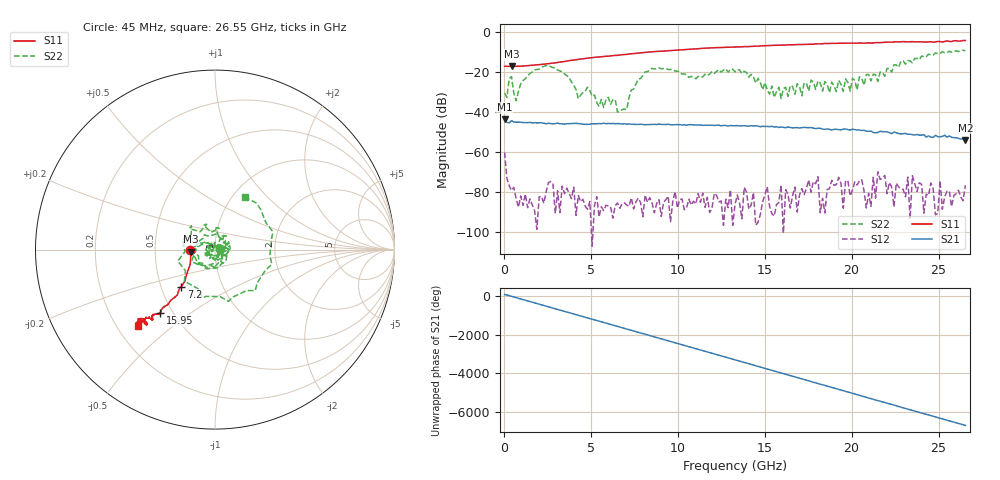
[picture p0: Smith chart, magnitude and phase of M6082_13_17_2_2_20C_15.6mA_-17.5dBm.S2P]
!  2-Port S-parameters saved by WinCal
! VAR MeasName=S-Parameters (CALIBRATED_DATA) read from VNA (C)
! VAR MeasDate=10/16/2015 2:01:17 PM
! VAR NAME=M6082_13_17_2_2_20C_15.6mA_-17.5dBm
! VAR FILENAME=M6082_13_17_2_2_20C_15.6mA_-17.5dBm.S2P
! VAR DATE=10/16/2015 2:01:17 PM
! VAR PHYS_PORTS=2,1
! VAR ObjTypeName=DATASET
! VAR IndexType=Frequency
# Hz S RI R 50
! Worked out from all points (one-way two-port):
!   201 points, 45 MHz to 26.55 GHz, reference 50 ohm
!   highest |S21| = -43.82 dB at 45 MHz (marker M1); lowest = -54.1 dB at 26.55 GHz (marker M2)
!   lowest |S11| = -17.3 dB at 442.5 MHz (marker M3), VSWR 1.32, Z = 38 - j0.903 ohm
!   |S11| at or under -10 dB: start of sweep to 8.538 GHz
!   |S22| runs from -40.2 to -9.2 dB; largest |S21 - S12| = 0.0072
!   S11 on the Smith chart (normalised r, x): 45 MHz: 0.76, -0.00; 7.2 GHz: 0.63, -0.28; 15.95 GHz: 0.43, -0.39; 26.55 GHz: 0.28, -0.38
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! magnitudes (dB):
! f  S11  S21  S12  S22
! 45 MHz  -17.2  -43.8  -60.3  -30.6
! 177.5 MHz  -17.3  -45.2  -73.3  -32.8
! 442.5 MHz  -17.3  -44.4  -79.3  -22.4
! 707.5 MHz  -17.2  -45.1  -83.3  -34.5
! 1.105 GHz  -17.1  -45.4  -86.8  -24.4
! 2.43 GHz  -16.1  -46.0  -80.1  -17.0
! 4.55 GHz  -13.5  -46.2  -83.8  -30.3
! 6.405 GHz  -11.8  -45.9  -87.0  -33.9
! 6.537 GHz  -11.7  -45.9  -85.5  -40.2
! 7.2 GHz  -11.1  -46.0  -87.2  -32.8
! 8.922 GHz  -9.8  -46.1  -84.0  -18.0
! 13.29 GHz  -7.6  -46.9  -86.3  -20.0
! 15.95 GHz  -6.6  -47.6  -76.6  -33.4
! 17.8 GHz  -6.2  -48.1  -74.9  -25.2
! 18.46 GHz  -5.8  -48.8  -90.5  -24.8
! 19.26 GHz  -5.7  -48.9  -72.7  -24.3
! 19.92 GHz  -5.6  -49.1  -82.0  -29.7
! 20.05 GHz  -5.6  -48.7  -79.1  -23.2
! 20.32 GHz  -5.7  -49.1  -76.6  -29.1
! 20.45 GHz  -5.6  -49.1  -74.6  -22.5
! 22.17 GHz  -5.2  -50.4  -75.3  -18.3
! 26.55 GHz  -4.3  -54.1  -76.7  -9.5
